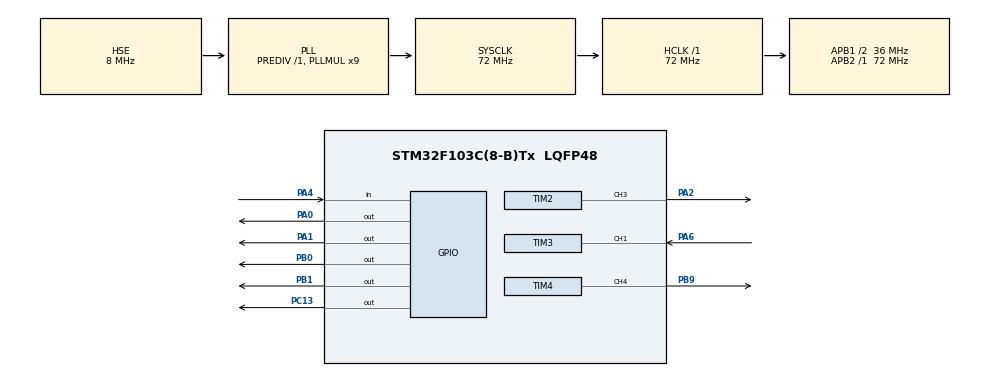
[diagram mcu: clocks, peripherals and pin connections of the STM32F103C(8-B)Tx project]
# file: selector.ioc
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Mcu.Family=STM32F1
Mcu.Name=STM32F103C(8-B)Tx
Mcu.Package=LQFP48
NVIC.PriorityGroup=NVIC_PRIORITYGROUP_4
NVIC.TIM3_IRQn=true\:1\:0\:true\:false\:true\:true\:true\:true
PA0-WKUP.Signal=GPIO_Output
PA1.Signal=GPIO_Output
PA13.Mode=Serial_Wire
PA13.Signal=SYS_JTMS-SWDIO
PA14.Mode=Serial_Wire
PA14.Signal=SYS_JTCK-SWCLK
PA2.Signal=S_TIM2_CH3
PA4.GPIO_PuPd=GPIO_PULLUP
PA4.Signal=GPIO_Input
PA6.Signal=S_TIM3_CH1
PB0.Signal=GPIO_Output
PB1.Signal=GPIO_Output
PB9.GPIO_ModeDefaultPP=GPIO_MODE_AF_OD
PB9.GPIO_Speed=GPIO_SPEED_FREQ_LOW
PB9.Signal=S_TIM4_CH4
PC13-TAMPER-RTC.PinState=GPIO_PIN_SET
PC13-TAMPER-RTC.Signal=GPIO_Output
PD0-OSC_IN.Mode=HSE-External-Oscillator
PD0-OSC_IN.Signal=RCC_OSC_IN
PD1-OSC_OUT.Mode=HSE-External-Oscillator
PD1-OSC_OUT.Signal=RCC_OSC_OUT
ProjectManager.HeapSize=0x200
ProjectManager.StackSize=0x400
ProjectManager.TargetToolchain=EWARM V8.32
RCC.AHBFreq_Value=72000000
RCC.APB1CLKDivider=RCC_HCLK_DIV2
RCC.APB1Freq_Value=36000000
RCC.APB1TimFreq_Value=72000000
RCC.APB2Freq_Value=72000000
RCC.APB2TimFreq_Value=72000000
RCC.HCLKFreq_Value=72000000
RCC.PLLMUL=RCC_PLL_MUL9
RCC.PLLSourceVirtual=RCC_PLLSOURCE_HSE
RCC.SYSCLKFreq_VALUE=72000000
RCC.SYSCLKSource=RCC_SYSCLKSOURCE_PLLCLK
RCC.USBFreq_Value=72000000
SH.S_TIM2_CH3.0=TIM2_CH3,PWM Generation3 CH3
SH.S_TIM3_CH1.0=TIM3_CH1,Input_Capture1_from_TI1
SH.S_TIM4_CH4.0=TIM4_CH4,PWM Generation4 CH4
TIM2.Channel-PWM\ Generation3\ CH3=TIM_CHANNEL_3
TIM2.Period=19999
TIM2.Prescaler=71
TIM3.Channel-Input_Capture1_from_TI1=TIM_CHANNEL_1
TIM3.Prescaler=71
TIM4.Channel-PWM\ Generation4\ CH4=TIM_CHANNEL_4
TIM4.Period=999
TIM4.Prescaler=71
VP_TIM3_VS_ClockSourceINT.Mode=Internal
VP_TIM4_VS_ClockSourceINT.Mode=Internal
board=custom

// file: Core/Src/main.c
/* USER CODE BEGIN Header */
/**
  ******************************************************************************
  * @file           : main.c
  * @brief          : Main program body
  ******************************************************************************
  * @attention
  *
  * Copyright (c) 2026 STMicroelectronics.
  * All rights reserved.
  *
  * This software is licensed under terms that can be found in the LICENSE file
  * in the root directory of this software component.
  * If no LICENSE file comes with this software, it is provided AS-IS.
  *
  ******************************************************************************
  */
/* USER CODE END Header */
#include "main.h"
#include "tim.h"
#include "gpio.h"

/* USER CODE BEGIN PV */
uint32_t Color_Frequency_Count = 0;
uint16_t current_pulse = 1500;
/* USER CODE END PV */

void SystemClock_Config(void);

/* USER CODE BEGIN 0 */
// 1. 在文件开头（main函数外面）定义一个全局变量，记录当前脉宽
void Servo_Move_To(uint16_t target_angle)
{
    // 计算目标角度对应的目标脉宽
    uint16_t target_pulse = (target_angle * 2000 / 180) + 500;
    // 自动判断：当前脉宽还没达到目标脉宽时，进入循环
    while (current_pulse != target_pulse)
    {
        if (current_pulse < target_pulse) {
            current_pulse++; // 当前位置比目标小，就递增
        } else {
            current_pulse--; // 当前位置比目标大，就递减
        }

        // 直接向定时器寄存器写入最新的微步脉宽
        __HAL_TIM_SET_COMPARE(&htim2, TIM_CHANNEL_3, current_pulse);

        // 控速延迟（1~5ms）
        HAL_Delay(1);
    }
}
/* ================= 电机控制核心动作函数 ================= */
void Motor_Set_Speed(int16_t speed)
{
    if(speed>0)
    {
        HAL_GPIO_WritePin(GPIOA, GPIO_PIN_0, GPIO_PIN_SET);//IN1=1
        HAL_GPIO_WritePin(GPIOA, GPIO_PIN_1, GPIO_PIN_RESET);//IN2=0
        __HAL_TIM_SET_COMPARE(&htim4, TIM_CHANNEL_4, speed);
    }
    else if(speed<0)
    {
        HAL_GPIO_WritePin(GPIOA, GPIO_PIN_0, GPIO_PIN_RESET);//IN1=0
        HAL_GPIO_WritePin(GPIOA, GPIO_PIN_1, GPIO_PIN_SET);//IN2=1
        __HAL_TIM_SET_COMPARE(&htim4, TIM_CHANNEL_4, -speed);
    }
    else
    {
        HAL_GPIO_WritePin(GPIOA, GPIO_PIN_0, GPIO_PIN_RESET);//IN1=0
        HAL_GPIO_WritePin(GPIOA, GPIO_PIN_1, GPIO_PIN_RESET);//IN2=0
        __HAL_TIM_SET_COMPARE(&htim4, TIM_CHANNEL_4, 0);
    }
}

/* USER CODE END 0 */

int main(void)
{

  /* MCU Configuration--------------------------------------------------------*/

  /* Reset of all peripherals, Initializes the Flash interface and the Systick. */
  HAL_Init();

  /* Configure the system clock */
  SystemClock_Config();

  /* Initialize all configured peripherals */
  MX_GPIO_Init();
  MX_TIM2_Init();
  MX_TIM3_Init();
  MX_TIM4_Init();
  /* USER CODE BEGIN 2 */
  HAL_TIM_PWM_Start(&htim2,TIM_CHANNEL_3);
  HAL_TIM_PWM_Start(&htim4,TIM_CHANNEL_4);
  HAL_TIM_IC_Start_IT(&htim3,TIM_CHANNEL_1);
  /* USER CODE END 2 */

  /* Infinite loop */
  /* USER CODE BEGIN WHILE */
  while (1)
  {
      uint32_t Red_Val=0;
      uint32_t Green_Val=0;

      if (HAL_GPIO_ReadPin(GPIOA, GPIO_PIN_4) == GPIO_PIN_RESET)
         {
             HAL_Delay(20); // 软件消抖

             // 2. 再次确认按键是否真的按下
             if (HAL_GPIO_ReadPin(GPIOA, GPIO_PIN_4) == GPIO_PIN_RESET)
             {
                 // 3. 翻转 PC13 的电平（亮变灭，灭变亮）
                HAL_GPIO_TogglePin(GPIOC, GPIO_PIN_13);
                //切换到红色通道，数100ms的脉冲数
                HAL_GPIO_WritePin(GPIOB,GPIO_PIN_0,GPIO_PIN_RESET);//S2=0
                HAL_GPIO_WritePin(GPIOB,GPIO_PIN_1,GPIO_PIN_RESET);//S3=0
                Color_Frequency_Count=0;
                HAL_Delay(100);
                Red_Val=Color_Frequency_Count;

                //切换到绿色通道，数100ms的脉冲数
                HAL_GPIO_WritePin(GPIOB,GPIO_PIN_0,GPIO_PIN_SET);//S2=1
                HAL_GPIO_WritePin(GPIOB,GPIO_PIN_1,GPIO_PIN_SET);//S3=1
                Color_Frequency_Count=0;
                HAL_Delay(100);
                Green_Val=Color_Frequency_Count;

                //颜色判断
                if(Red_Val > Green_Val+5000)
                {
                    Servo_Move_To(120);
                    Motor_Set_Speed(-300);
                    HAL_Delay(1000);//等待物品传送
                    Servo_Move_To(60);
									  Motor_Set_Speed(0);
                    HAL_Delay(1000);
                    Servo_Move_To(90);
                }
                else if(Green_Val > Red_Val+1000)
                {
                    Servo_Move_To(60);
                    Motor_Set_Speed(-300);
                    HAL_Delay(1000);//等待物品传送
                    Servo_Move_To(120);
									  Motor_Set_Speed(0);
                    HAL_Delay(1000);
                    Servo_Move_To(90);
                }
                Motor_Set_Speed(0);
                HAL_GPIO_WritePin(GPIOC, GPIO_PIN_13, GPIO_PIN_SET);
             }
             else HAL_GPIO_WritePin(GPIOC, GPIO_PIN_13, GPIO_PIN_SET);
         }
    /* USER CODE END WHILE */

  }
}

void SystemClock_Config(void)
{
  RCC_OscInitTypeDef RCC_OscInitStruct = {0};
  RCC_ClkInitTypeDef RCC_ClkInitStruct = {0};

  /** Initializes the RCC Oscillators according to the specified parameters
  * in the RCC_OscInitTypeDef structure.
  */
  RCC_OscInitStruct.OscillatorType = RCC_OSCILLATORTYPE_HSE;
  RCC_OscInitStruct.HSEState = RCC_HSE_ON;
  RCC_OscInitStruct.HSEPredivValue = RCC_HSE_PREDIV_DIV1;
  RCC_OscInitStruct.HSIState = RCC_HSI_ON;
  RCC_OscInitStruct.PLL.PLLState = RCC_PLL_ON;
  RCC_OscInitStruct.PLL.PLLSource = RCC_PLLSOURCE_HSE;
  RCC_OscInitStruct.PLL.PLLMUL = RCC_PLL_MUL9;
  if (HAL_RCC_OscConfig(&RCC_OscInitStruct) != HAL_OK)
  {
    Error_Handler();
  }

  /** Initializes the CPU, AHB and APB buses clocks
  */
  RCC_ClkInitStruct.ClockType = RCC_CLOCKTYPE_HCLK|RCC_CLOCKTYPE_SYSCLK
                              |RCC_CLOCKTYPE_PCLK1|RCC_CLOCKTYPE_PCLK2;
  RCC_ClkInitStruct.SYSCLKSource = RCC_SYSCLKSOURCE_PLLCLK;
  RCC_ClkInitStruct.AHBCLKDivider = RCC_SYSCLK_DIV1;
  RCC_ClkInitStruct.APB1CLKDivider = RCC_HCLK_DIV2;
  RCC_ClkInitStruct.APB2CLKDivider = RCC_HCLK_DIV1;

  if (HAL_RCC_ClockConfig(&RCC_ClkInitStruct, FLASH_LATENCY_2) != HAL_OK)
  {
    Error_Handler();
  }
}

void Error_Handler(void)
{
  __disable_irq();
  while (1)
  {
  }
}
